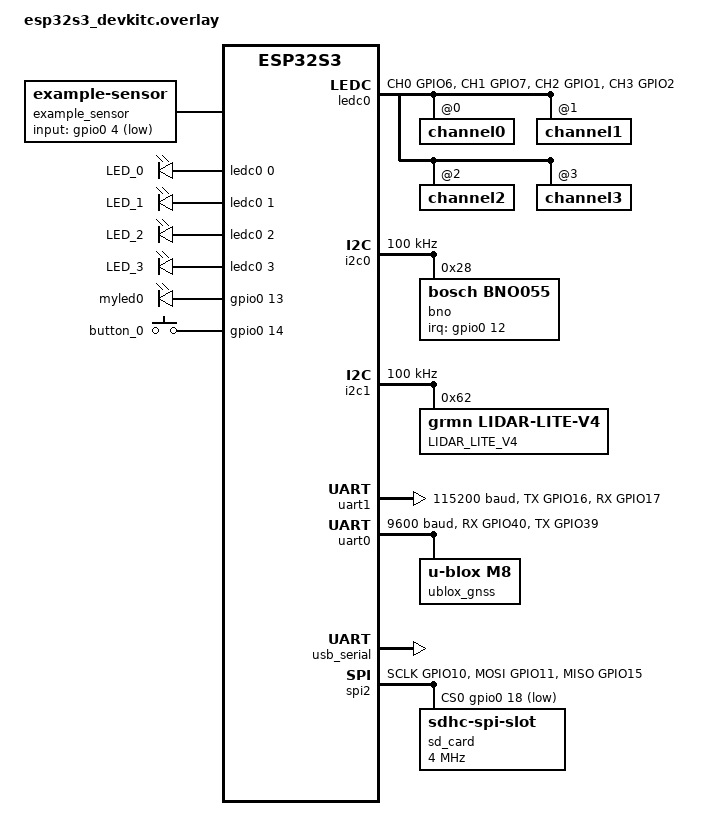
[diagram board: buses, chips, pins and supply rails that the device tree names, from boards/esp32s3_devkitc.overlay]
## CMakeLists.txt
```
#-------------------------------------------------------------------------------
# Zephyr Example Application
#
# Copyright (c) 2021 Nordic Semiconductor ASA
# SPDX-License-Identifier: Apache-2.0

cmake_minimum_required(VERSION 3.20.0)
list(APPEND DTS_ROOT ${CMAKE_CURRENT_SOURCE_DIR}/..)
find_package(Zephyr REQUIRED HINTS $ENV{ZEPHYR_BASE})
project(my_zephyr_app)

project(app LANGUAGES C)
target_include_directories(app  PRIVATE ${CMAKE_CURRENT_SOURCE_DIR}/../include)
target_sources(app PRIVATE src/main.c src/state_machine.c src/lidar.c src/uart.c src/bno.c src/ledCtrl.c src/pid.c src/control.c src/sdcard.c)

add_subdirectory(${CMAKE_CURRENT_SOURCE_DIR}/../drivers drivers)
```

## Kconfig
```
# Copyright (c) 2021 Nordic Semiconductor ASA
# SPDX-License-Identifier: Apache-2.0
#
# This file is the application Kconfig entry point. All application Kconfig
# options can be defined here or included via other application Kconfig files.
# You can browse these options using the west targets menuconfig (terminal) or
# guiconfig (GUI).

menu "Zephyr"
source "Kconfig.zephyr"
endmenu
rsource "../drivers/Kconfig"
module = APP
module-str = APP
```

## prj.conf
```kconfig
# Copyright (c) 2021 Nordic Semiconductor ASA
# SPDX-License-Identifier: Apache-2.0
#
#
# This file contains selected Kconfig options for the application.

CONFIG_I2C=y
CONFIG_SENSOR=y

CONFIG_MAIN_STACK_SIZE=4096
CONFIG_PWM=y
CONFIG_LIDAR_LITE_V4=y
CONFIG_LOG=y
CONFIG_PRINTK=y
# --- Debug / diagnostics (intentional — see TRANSITION.md §9) ---
CONFIG_THREAD_STACK_INFO=y
# Guard word at each stack end, checked on context switch: a stack overflow
# becomes a named fatal message instead of silent corruption + a wild crash.
CONFIG_STACK_SENTINEL=y
# Real thread names in crash dumps and the analyzer (not "(unknown)").
CONFIG_THREAD_NAME=y
# Print every thread's stack high-water mark + CPU% every 20s. Keep it; for a
# quieter console raise the interval rather than removing it.
CONFIG_THREAD_ANALYZER=y
CONFIG_THREAD_ANALYZER_USE_PRINTK=y
CONFIG_THREAD_ANALYZER_AUTO=y
CONFIG_THREAD_ANALYZER_AUTO_INTERVAL=20
# added so no logs are dropped in dump
CONFIG_LOG_BUFFER_SIZE=2048
# --- end diagnostics ---
CONFIG_NEWLIB_LIBC=y
# CONFIG_MPU6050_TRIGGER=y
CONFIG_MPU6050_TRIGGER_GLOBAL_THREAD=y
CONFIG_CBPRINTF_FP_SUPPORT=y
CONFIG_BNO055=y
CONFIG_BNO055_TRIGGER=y
CONFIG_SENSOR_LOG_LEVEL_INF=y
# CONFIG_MPU6050=y
CONFIG_NANOPB=y
CONFIG_GPIO=y
CONFIG_SERIAL=y
CONFIG_UART_INTERRUPT_DRIVEN=y
#GNSS config
CONFIG_GNSS=y
#SD
CONFIG_SPI=y
CONFIG_DISK_ACCESS=y
CONFIG_DISK_DRIVER_SDMMC=y
#File systems
CONFIG_FILE_SYSTEM=y
CONFIG_FAT_FILESYSTEM_ELM=y
```

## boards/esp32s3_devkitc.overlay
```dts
#include <zephyr/dt-bindings/pwm/pwm.h>
/ {
    chosen {
        zephyr,console = &usb_serial;
        zephyr,shell-uart = &usb_serial;
    };

    example_sensor: example_sensor_0 {
        compatible = "zephyr,example-sensor";
        input-gpios = <&gpio0 4 (GPIO_PULL_UP | GPIO_ACTIVE_LOW)>;
        status = "okay";
    };

    aliases {
        led0 = &pwm_led_0;
        led1 = &pwm_led_1;
        led2 = &pwm_led_2;
        led3 = &pwm_led_3;
        led4 = &myled0;
        button0 = &button_0;
    };

    my-pwm-leds {
        compatible = "pwm-leds";
         pwm_led_0: pwm_led_0 {
            pwms = <&ledc0 0 1000000 PWM_POLARITY_NORMAL>; /* channel 0 */
            label = "LED_0";
        };
        pwm_led_1: pwm_led_1 {
            pwms = <&ledc0 1 1000000 PWM_POLARITY_NORMAL>; /* channel 1 */
            label = "LED_1";
        };
        pwm_led_2: pwm_led_2 {
            pwms = <&ledc0 2 1000000 PWM_POLARITY_NORMAL>; /* channel 2 */
            label = "LED_2";
        };
        pwm_led_3: pwm_led_3 {
            pwms = <&ledc0 3 1000000 PWM_POLARITY_NORMAL>; /* channel 3 */
            label = "LED_3";
        };
    };

    leds: leds {
        compatible = "gpio-leds";
        myled0: led_4 {
            gpios = <&gpio0 13 GPIO_ACTIVE_HIGH>;
        };
    };

    buttons: buttons {
        compatible = "gpio-keys";
        button_0: button_0 {
            gpios = <&gpio0 14 (GPIO_ACTIVE_HIGH | GPIO_PULL_DOWN)>;
        };
    };

};


&ledc0 {
    pinctrl-0 = <&ledc0_pins>;
    pinctrl-names = "default";
    status = "okay";
    #address-cells=<1>;
    #size-cells=<0>;
    channel0@0 {
        reg = <0>;
        timer = <0>;
    };

    channel1@1 {
        reg = <1>;
        timer = <0>;
    };

    channel2@2 {
        reg = <2>;
        timer = <0>;
    };

    channel3@3 {
        reg = <3>;
        timer = <0>;
    };
};

&pinctrl {
    ledc0_pins: ledc0_pins {
        group1 {
            pinmux = <LEDC_CH0_GPIO6>;
            output-enable;
        };
        group2 {
            pinmux = <LEDC_CH1_GPIO7>;
            output-enable;
        };
        group3 {
            pinmux = <LEDC_CH2_GPIO1>;
            output-enable;
        };
        group4 {
            pinmux = <LEDC_CH3_GPIO2>;
            output-enable;
        };
    };

    i2c0_default: i2c0_default {
        group1 {
            pinmux=<I2C0_SDA_GPIO8>, <I2C0_SCL_GPIO9>;
            bias-pull-up;
            drive-open-drain;
            output-high;
        };

    };

    i2c1_default: i2c1_default {
        group1 {
            pinmux=<I2C1_SDA_GPIO4>, <I2C1_SCL_GPIO5>;
            bias-pull-up;
            drive-open-drain;
            output-high;
        };
    };
    uart1_pins: uart1_pins {
        group1 {
            pinmux=<UART1_TX_GPIO16>;
            output-high;
        };
        group2 {
            pinmux=<UART1_RX_GPIO17>;
            bias-pull-up;
        };
    };
    uart0_pins: uart0_pins {
        group1 {
            pinmux = <UART0_RX_GPIO40>;
            bias-pull-up;
        };
        group2 {
            pinmux = <UART0_TX_GPIO39>;
            output-high;
        };
    };

    spi2_sd_pins: spi2_sd_pins {
        group1 {
            pinmux = <SPIM2_SCLK_GPIO10>, <SPIM2_MOSI_GPIO11>;
            output-enable;
        };
        group2 {
            pinmux = <SPIM2_MISO_GPIO15>;
            input-enable;
            bias-pull-up;
        };
    };

};


&i2c0 {
	status = "okay";
    bno: bno0550: bno055@28 {
        compatible = "bosch,bno055";
        reg=<0x28>;
        irq-gpios = <&gpio0 12 (GPIO_ACTIVE_HIGH | GPIO_PULL_DOWN)>;
        // use_xtal;
        // zephyr,deferred-init;
    };
    clock-frequency = <I2C_BITRATE_STANDARD>;
    pinctrl-0 = <&i2c0_default>;
    pinctrl-names = "default";
};

&i2c1 {
    status ="okay";
    clock-frequency = <I2C_BITRATE_STANDARD>;
    pinctrl-0 = <&i2c1_default>;
    pinctrl-names = "default";
    lidar: lidar@62 {
        compatible = "grmn,lidar-lite-v4";
        reg = <0x62>;
        label = "LIDAR_LITE_V4";
        status = "okay";
    };
};

&gpio0 {
    status = "okay";
};

&uart1 {
    status = "okay";
    pinctrl-0 = <&uart1_pins>;
    pinctrl-names = "default";
    current-speed = <115200>;
};


&uart0 {
    status = "okay";
    pinctrl-0 = <&uart0_pins>;
    pinctrl-names = "default";
    current-speed = <9600>;
    ublox_gnss: ublox_gnss {
        status = "okay";
        compatible = "u-blox,m8";
        initial-baudrate = <9600>;
        fix-rate = <1000>;
    };
};

&usb_serial {
    status = "okay";
};

&spi2 {
    status = "okay";
    pinctrl-0 = <&spi2_sd_pins>;
    pinctrl-names = "default";
    cs-gpios = <&gpio0 18 (GPIO_ACTIVE_LOW | GPIO_PULL_UP)>;
    sd_card@0 {
        #address-cells = <0x1>;
        #size-cells = <0x0>;
        compatible = "zephyr,sdhc-spi-slot";
        reg = <0>;
        spi-max-frequency = <4000000>;
        power-delay-ms = <200>;
        sdmmc@0 {
            reg = <0>;
            compatible = "zephyr,sdmmc-disk";
            disk-name = "SD";
            status = "okay";
        };
    };
};

&spi3 {
    status = "disabled";
};
```

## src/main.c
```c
#include <zephyr/kernel.h>
#include <zephyr/sys/printk.h> 
#include <zephyr/drivers/sensor.h>
#include <zephyr/drivers/gpio.h>
#include <zephyr/drivers/i2c.h>
#include "state_machine.h"
// #include "imu.h"
#include "lidar.h"
#include "bno.h"
#include "ledCtrl.h"
#include "uart.h"
#include <stdio.h> 
#include "pid.h"
#include "control.h"
#include <stdalign.h>

// static const struct device *bno055_dev = DEVICE_DT_GET(DT_NODELABEL(bno)); 

// define thread
#define STACK_SIZE      2048
#define COMMS_PRIORITY  1
#define BNO_STACK_SIZE 4096
#define BNO_PRIORITY   3
#define LIDAR_STACK_SIZE 2048
#define LIDAR_PRIORITY 4
#define MAX_BNO_MSGQ_LEN 16
#define MAX_LIDAR_MSGQ_LEN 8
#define BNO_SEM_INIT_COUNT 0 
#define BNO_SEM_MAX_COUNT 1
#define BNO_THREAD_PRIORITY 2
#define UART_CONSUMER_STACK_SIZE 2048
#define UART_CONSUMER_PRIORITY 5
#define TOP_LEFT  1
#define TOP_RIGHT  2
#define BOTTOM_LEFT  0
#define BOTTOM_RIGHT  3

#ifndef M_PI
#define M_PI 3.14159265358979323846
#endif

//lidar section
K_SEM_DEFINE(lidar_sem, 0, 1);
K_MSGQ_DEFINE(lidar_msgq, sizeof(struct lidar_data), MAX_LIDAR_MSGQ_LEN, alignof(struct lidar_data));
K_TIMER_DEFINE(lidar_timer, lidar_timer_handler, NULL);
//LiDAR stack definiton 
K_THREAD_STACK_DEFINE(lidar_consumer_stack, LIDAR_STACK_SIZE); 
static struct k_thread lidar_consumer_thread_data;

//state machine thread
K_THREAD_STACK_DEFINE(state_machine_stack, STACK_SIZE);
static struct k_thread state_machine_thread_data;
extern drone_state_t current_state;
extern struct k_msgq event_msgq;

//bno thread
K_THREAD_STACK_DEFINE(bno_consumer_stack, BNO_STACK_SIZE);
static struct k_thread bno_consumer_thread_data;
K_MSGQ_DEFINE(bno_msgq, sizeof(struct bno_data), MAX_BNO_MSGQ_LEN, alignof(int));
K_SEM_DEFINE(bno_sem, BNO_SEM_INIT_COUNT, BNO_SEM_MAX_COUNT);


K_THREAD_DEFINE(bno_thread, BNO_STACK_SIZE, bno_read_thread, NULL, NULL, NULL, BNO_THREAD_PRIORITY, 0, 0);
K_THREAD_DEFINE(lidar_thread, LIDAR_STACK_SIZE, lidar_read_thread, NULL, NULL, NULL, LIDAR_PRIORITY, 0, 0);

//uart section
K_THREAD_STACK_DEFINE(uart_consumer_stack, UART_CONSUMER_STACK_SIZE);
static struct k_thread uart_consumer_thread_data;
K_MSGQ_DEFINE(uart_rx_msgq, sizeof(struct uart_msg), 16, alignof(struct uart_msg));
extern struct ring_buf command_queue;


static const struct gpio_dt_spec led0 = GPIO_DT_SPEC_GET(DT_ALIAS(led4), gpios);
/* Running count of bytes accepted from uart1 — shown in telemetry so you can
 * see at a glance whether commands physically reach the RX pin. */
static volatile uint32_t uart_rx_count = 0;
/* Split a float into sign + integer + hundredths so telemetry prints fixed
 * point with plain %d and skips the stack-heavy floating-point printk path. */
static void fx2(float v, char *sign, int *whole, int *frac)
{
    *sign  = (v < 0.0f) ? '-' : ' ';
    float a = (v < 0.0f) ? -v : v;
    *whole = (int)a;
    *frac  = (int)((a - (float)*whole) * 100.0f + 0.5f);
    if (*frac >= 100) { *frac -= 100; (*whole)++; }
}

static void bno_consumer(void *arg1, void *arg2, void *arg3)
{
    struct bno_data out;
    pid_ctrl_t pitch_pid, roll_pid, alt_pid;

    printk("BNO consumer thread started\n");

    /*
     * Attitude gains — tune Kp first, then Ki to kill steady-state offset,
     * then Kd to reduce overshoot. integral_limit caps the I term to ±20
     * output units. Starting points from prior proportional-only tuning:
     *   pitch ±3.5° observed range, roll ±1.5° observed range.
     */
    pid_init(&pitch_pid, /*kp=*/8.0f,  /*ki=*/0.5f,   /*kd=*/2.0f,  /*lim=*/20.0f);
    pid_init(&roll_pid,  /*kp=*/10.0f, /*ki=*/0.5f,   /*kd=*/2.0f,  /*lim=*/20.0f);
    /*
     * Altitude gains operate on error in millimetres, so they are much
     * smaller. Output is a collective throttle offset added to every motor.
     * integral_limit caps collective authority from the I term to ±30.
     */
    pid_init(&alt_pid,   /*kp=*/0.05f, /*ki=*/0.001f, /*kd=*/0.02f, /*lim=*/30.0f);

    uint32_t last_time = k_uptime_get_32();
    int print_counter = 0;

    while (1) {
        /* Block for one sample, then drain any backlog and keep only the
         * newest: the producer runs faster (25 Hz) than this loop (20 Hz),
         * so this both prevents queue-full drops and guarantees the control
         * loop acts on the freshest attitude, never a stale FIFO entry. */
        int rc = bno_get(&out, K_MSEC(100));
        if (rc == 0) {
            struct bno_data newer;
            while (bno_get(&newer, K_NO_WAIT) == 0) {
                out = newer;
            }
        }
        if (rc != 0) {
            /* Sensor loss — idle motors and reset PID state to prevent
             * stale integral and derivative carry-over on recovery. */
            //need some error recovery -> force FSM to ERROR
            pid_reset(&pitch_pid);
            pid_reset(&roll_pid);
            pid_reset(&alt_pid);
            last_time = k_uptime_get_32();
            // for (int i = 0; i < 4; i++) {
            //     set_led_intensity(i, 10);
            // }
            //immediately go into error and block forever
            
            //UNCOMMENT when bno consumer is ready; else then sends it to error pretty fast
            // static const system_events_t bno_error = ERROR;
            // k_msgq_put_front(&event_msgq, &bno_error);
            
            
            k_msleep(50);
            continue;
        }

        uint32_t now = k_uptime_get_32();
        float dt = (float)(now - last_time) / 1000.0f;  /* ms -> seconds */
        last_time = now;

        /* Guard: skip cycle if dt is zero or suspiciously large (scheduler
         * stall, wrap-around, first tick). */
        if (dt <= 0.0f || dt > 0.5f) {
            k_msleep(50);
            continue;
        }

        /* Snapshot RC-commanded setpoints + latest altitude for this tick. */
        float pitch_sp, roll_sp, altitude_sp;
        uint32_t altitude_mm;
        bool altitude_valid;
        control_get(&pitch_sp, &roll_sp, &altitude_sp,
                    &altitude_mm, &altitude_valid);

        /* Invert signs to match physical frame orientation of the rig. */
        float pitch = -out.eul.pitch;
        float roll  = -out.eul.roll;

        /* Attitude PID tracks RC-commanded angles (0° = level hover). */
        float pitch_out = pid_update(&pitch_pid, pitch_sp, pitch, dt);
        float roll_out  = pid_update(&roll_pid,  roll_sp,  roll,  dt);

        /* Altitude PID adjusts collective throttle to hold commanded height.
         * Only active once LiDAR has produced a valid measurement. */
        int base = 50;
        float collective = (float)base;
        if (altitude_valid) {
            collective += pid_update(&alt_pid, altitude_sp,
                                     (float)altitude_mm, dt);
        } else {
            pid_reset(&alt_pid);
        }

        int front_left  = (int)collective + (int)pitch_out + (int)roll_out;
        int front_right = (int)collective - (int)pitch_out + (int)roll_out;
        int back_left   = (int)collective + (int)pitch_out - (int)roll_out;
        int back_right  = (int)collective - (int)pitch_out - (int)roll_out;

        if (front_left  < 0) front_left  = 0; else if (front_left  > 100) front_left  = 100;
        if (front_right < 0) front_right = 0; else if (front_right > 100) front_right = 100;
        if (back_left   < 0) back_left   = 0; else if (back_left   > 100) back_left   = 100;
        if (back_right  < 0) back_right  = 0; else if (back_right  > 100) back_right  = 100;

        set_led_intensity(TOP_LEFT,     front_left);
        set_led_intensity(TOP_RIGHT,    front_right);
        set_led_intensity(BOTTOM_LEFT,  back_left);
        set_led_intensity(BOTTOM_RIGHT, back_right);

        /* Throttled telemetry (~2 Hz), integer fixed-point so no %f printk. */
        if (++print_counter >= 10) {
            print_counter = 0;
            char ps, rs, ys, spp, spr;
            int pw, pf, rw, rf, yw, yf, ppw, ppf, prw, prf;
            fx2(pitch,       &ps,  &pw,  &pf);
            fx2(roll,        &rs,  &rw,  &rf);
            fx2(out.eul.yaw, &ys,  &yw,  &yf);
            fx2(pitch_sp,    &spp, &ppw, &ppf);
            fx2(roll_sp,     &spr, &prw, &prf);
            printk("[%s] P:%c%d.%02d R:%c%d.%02d Y:%c%d.%02d | sp P:%c%d.%02d R:%c%d.%02d | alt:%umm sp:%d%s | rx:%u | mix FL:%d FR:%d BL:%d BR:%d\n",
                   now_str(),
                   ps, pw, pf,  rs, rw, rf,  ys, yw, yf,
                   spp, ppw, ppf,  spr, prw, prf,
                   altitude_mm, (int)altitude_sp,
                   altitude_valid ? "" : "(off)",
                   uart_rx_count,
                   front_left, front_right, back_left, back_right);
        }

        k_msleep(50);  /* 20 Hz control loop */
    }
}

static void lidar_consumer(void *arg1, void *arg2, void *arg3) {
    struct lidar_data out; 
    printk("LiDAR consumer thread started\n");

    while (1) {
        int rc = k_msgq_get(&lidar_msgq, &out, K_FOREVER);
        if (rc == 0) {
            /* Publish altitude to the control loop (engages altitude hold). */
            control_set_altitude(out.distance_mm);
            /* Proximity warning LED. */
            if(out.distance_mm < 300) {
                gpio_pin_set_dt(&led0, 1);
            } else {
                gpio_pin_set_dt(&led0, 0);
            }
        } else {
            printk("Failed to get LiDAR data: %d\n", rc);
        }
        k_msleep(100);
    }
}

static void uart_consumer(void *arg1,  void *arg2, void *arg3) {
    struct uart_msg out;
    static const system_events_t control_event = CTRL_COMMAND;
    printk("uart consumer thread started\n");
    while(1)
    {
        if(k_msgq_get(&uart_rx_msgq, &out, K_FOREVER) == 0)
        {
            char c = out.data[0];
            uart_rx_count++;
                switch (c) {
                case 'L':
                    // control_adjust_roll(-CONTROL_ATTITUDE_STEP_DEG);
                    printk("UART: LEFT  (roll setpoint down)\n");
                    static const command_t left_cmd = LEFT;
                    ring_buf_put(&command_queue, (uint8_t*)&left_cmd, sizeof(command_t));
                    k_msgq_put(&event_msgq, &control_event, K_NO_WAIT);
                    break;
                case 'R':
                    // control_adjust_roll(+CONTROL_ATTITUDE_STEP_DEG);
                    printk("UART: RIGHT (roll setpoint up)\n");
                    static const command_t right_cmd = RIGHT;
                    ring_buf_put(&command_queue, (uint8_t*)&right_cmd, sizeof(command_t));
                    k_msgq_put(&event_msgq, &control_event, K_NO_WAIT);
                    break;
                case 'U':
                    // control_adjust_pitch(+CONTROL_ATTITUDE_STEP_DEG);
                    printk("UART: UP    (pitch setpoint up)\n");
                    static const command_t back_cmd = BACK;
                    ring_buf_put(&command_queue, (uint8_t*)&back_cmd, sizeof(command_t));
                    k_msgq_put(&event_msgq, &control_event, K_NO_WAIT);
                    break;
                case 'D':
                    // control_adjust_pitch(-CONTROL_ATTITUDE_STEP_DEG);
                    printk("UART: DOWN  (pitch setpoint down)\n");
                    static const command_t forward_cmd = FORWARD;
                    ring_buf_put(&command_queue, (uint8_t*)&forward_cmd, sizeof(command_t));
                    k_msgq_put(&event_msgq, &control_event, K_NO_WAIT);
                    break;
                case 'A':
                    // control_adjust_altitude(+CONTROL_ALTITUDE_STEP_MM);
                    printk("UART: ASCEND  (altitude setpoint +%dmm)\n",
                           (int)CONTROL_ALTITUDE_STEP_MM);
                    static const command_t up_cmd = UP;
                    ring_buf_put(&command_queue, (uint8_t*)&up_cmd, sizeof(command_t));
                    k_msgq_put(&event_msgq, &control_event, K_NO_WAIT);
                    break;
                case 'X':
                    // control_adjust_altitude(-CONTROL_ALTITUDE_STEP_MM);
                    printk("UART: DESCEND (altitude setpoint -%dmm)\n",
                           (int)CONTROL_ALTITUDE_STEP_MM);
                    static const command_t down_cmd = DOWN;
                    ring_buf_put(&command_queue, (uint8_t*)&down_cmd, sizeof(command_t));
                    k_msgq_put(&event_msgq, &control_event, K_NO_WAIT);
                    break;
                case 'B':
                    static const command_t abort_cmd = ABORT;
                    ring_buf_put(&command_queue, (uint8_t*)&abort_cmd, sizeof(command_t));
                    k_msgq_put(&event_msgq, &control_event, K_NO_WAIT);
                    printk("UART: ABORT\n");
                    break;
                default:
                    printk("UART: UNKNOWN '%c'\n", c);
            }
        }
    }
}

/* Probe every 7-bit address on a bus and print which ones ACK. Lets you tell a
 * miswired-but-alive sensor (shows up at its address) from a dead/unwired one
 * (nothing responds). */
static void i2c_scan(const struct device *bus, const char *label)
{
    if (!device_is_ready(bus)) {
        printk("i2c_scan: %s not ready\n", label);
        return;
    }
    printk("Scanning %s...\n", label);
    int found = 0;
    for (uint8_t addr = 0x08; addr <= 0x77; addr++) {
        uint8_t dummy;
        if (i2c_read(bus, &dummy, 1, addr) == 0) {
            printk("  ACK at 0x%02x\n", addr);
            found++;
        }
    }
    printk("  %s: %d device(s) responded\n", label, found);
}

int main(void)
{
    // printk("Checking I2C devices...\n");

    const struct device *i2c0_dev = DEVICE_DT_GET(DT_NODELABEL(i2c0));
    const struct device *i2c1_dev = DEVICE_DT_GET(DT_NODELABEL(i2c1));
    int rc = gpio_pin_configure_dt(&led0, GPIO_OUTPUT_ACTIVE); 
    if(rc != 0) {
        printk("Failed to configure LED GPIO: %d\n", rc);
        return -1;
    }
    // Check if GPIO is ready
    if (!device_is_ready(led0.port)) {
        printk("LED GPIO device is not ready\n");
        return -1;
    }
    printk("setting to 0\n"); 
    gpio_pin_set_dt(&led0, 0); 
    
    printk("I2C0 ready: %s\n", device_is_ready(i2c0_dev) ? "YES" : "NO");
    printk("I2C1 ready: %s\n", device_is_ready(i2c1_dev) ? "YES" : "NO");

    /* Diagnostic: list every device that ACKs on each bus. BNO055 should
     * appear at 0x28 (or 0x29 if ADR is high); LiDAR at 0x62. */
    i2c_scan(i2c0_dev, "i2c0 (BNO055 @0x28)");
    i2c_scan(i2c1_dev, "i2c1 (LiDAR @0x62)");
    
    printk("Starting LiDAR-Lite V4 and BNO test app...\n");

    //Initialize BNO
    const struct device *const bno = DEVICE_DT_GET(DT_NODELABEL(bno));
    rc = bno_init(bno);
    if (rc != 0) {
        /* Non-fatal: keep booting so LiDAR/UART/LEDs still run and print.
         * Attitude control is simply disabled until the IMU comes up. */
        printk("bno_init failed: %d — continuing without IMU\n", rc);
    }

    // // Initialize LiDAR
    const struct device *const lidar_device = DEVICE_DT_GET(DT_NODELABEL(lidar));
    rc = lidar_init(lidar_device); 
    if(rc != 0) { 
        printk("lidar_init failed: %d\n", rc);
        // return rc;
    }

    //Initialize UART
    const struct device *const uart_control = DEVICE_DT_GET(DT_NODELABEL(uart1));
    int uc = uart_init(uart_control);
    if(uc != 0){
        printk("uart_init failed: %d\n",uc);
    }

    // Start state machine thread
    k_thread_create(&state_machine_thread_data, state_machine_stack, STACK_SIZE,
                    state_machine_thread, NULL, NULL, NULL,
                    COMMS_PRIORITY, 0, K_NO_WAIT);
    //initialize LEDs and control
    system_events_t event = INIT_HW;
    k_msgq_put(&event_msgq, &event, K_NO_WAIT);

    // Start BNO consumer thread (the one that prints data)
    k_thread_create(&bno_consumer_thread_data, 
                    bno_consumer_stack, 
                    BNO_STACK_SIZE, 
                    bno_consumer, 
                    NULL, NULL, NULL, 
                    BNO_PRIORITY, 0, K_NO_WAIT);
     // Start LiDAR consumer thread (the one that prints data)
    k_thread_create(&lidar_consumer_thread_data, 
                    lidar_consumer_stack, 
                    LIDAR_STACK_SIZE, 
                    lidar_consumer, 
                    NULL, NULL, NULL, 
                    LIDAR_PRIORITY, 0, K_NO_WAIT);

    // Start UART consumer thread (the one that prints data)
    k_thread_create(&uart_consumer_thread_data, 
                    uart_consumer_stack, 
                    UART_CONSUMER_STACK_SIZE, 
                    uart_consumer, 
                    NULL, NULL, NULL,
                    UART_CONSUMER_PRIORITY, 0, K_NO_WAIT);

    printk("All threads started\n");

    // Start LiDAR timer after everything is initialized
    k_timer_start(&lidar_timer, K_MSEC(30), K_MSEC(30));

    
    printk("LiDAR timer started, monitoring data...\n");
    //     k_usleep(100);
    //     event = ASCEND;
    //     k_msgq_put(&event_msgq, &event, K_NO_WAIT);
    //     k_usleep(100);
    //     event = CTRL_COMMAND;
    //     static const command_t cmd = ABORT;
    //     ring_buf_put(&command_queue, (uint8_t*)&cmd, sizeof(command_t));
    //     k_msgq_put(&event_msgq, &event, K_NO_WAIT);
    //     k_usleep(100);
        // event = LAND;
        // k_msgq_put(&event_msgq, &event, K_NO_WAIT);
        
    while(1) {
        // for(int i = 0; i < 100; i++) { 
        //     set_led_intensity(TOP_LEFT, 0); 
        //     set_led_intensity(TOP_RIGHT, 0); 
        //     set_led_intensity(BOTTOM_LEFT, 0); 
        //     set_led_intensity(BOTTOM_RIGHT, 0); 
        //     k_msleep(10);
        // }
        k_msleep(1000); 
        // for(int i = 100; i>=0; i--) { 
        //     set_led_intensity(TOP_LEFT, i); 
        //     // set_led_intensity(TOP_RIGHT, i); 
        //     set_led_intensity(BOTTOM_LEFT, i); 
        //     // set_led_intensity(BOTTOM_RIGHT, i); 
        //     k_msleep(10);
        // }
    }
    return 0;
}
```

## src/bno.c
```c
#include "bno.h"
#include <zephyr/kernel.h>
#include <zephyr/device.h>
#include <zephyr/drivers/sensor.h>
#include <stdio.h>
#include <../../drivers/sensor/bno055/bno055.h>

#ifndef M_PI
#define M_PI 3.14159265358979323846
#endif

static const struct device *bno_dev = NULL;
static volatile bool bno_ready = false;  /* set true once bno_init() completes */
static struct sensor_trigger trig_acc_drdy; 
static struct sensor_trigger trig_acc_motion;
static struct sensor_trigger trig_acc_high_g;
static struct sensor_trigger trig_gyr_any_motion;
static struct sensor_trigger trig_gyr_high_rate;

static void acc_drdy(const struct device *dev, const struct sensor_trigger *trigger) { ARG_UNUSED(dev); ARG_UNUSED(trigger); }
static void acc_motion(const struct device *dev, const struct sensor_trigger *trigger) { ARG_UNUSED(dev); ARG_UNUSED(trigger); }
static void acc_high_g(const struct device *dev, const struct sensor_trigger *trigger) { ARG_UNUSED(dev); ARG_UNUSED(trigger); }
static void gyr_any_motion(const struct device *dev, const struct sensor_trigger *trigger) { ARG_UNUSED(dev); ARG_UNUSED(trigger); }
static void gyr_high_rate(const struct device *dev, const struct sensor_trigger *trigger) { ARG_UNUSED(dev); ARG_UNUSED(trigger); }

const char *now_str(void) { 
    static char buf[16];
    uint32_t now = k_uptime_get_32();
    unsigned int ms = now % MSEC_PER_SEC;
    unsigned int s;
    unsigned int min;
    unsigned int h;

    now /= MSEC_PER_SEC;
    s = now % 60U;
    now /= 60U;
    min = now % 60U;
    now /= 60U;
    h = now;

    snprintf(buf, sizeof(buf), "%u:%02u:%02u.%03u", h, min, s, ms);
    return buf;
}

static int process_bno055(const struct device *dev, struct bno_data *out) { 
    struct sensor_value eul[3]; 
    int rc; 
    
    rc = sensor_sample_fetch(dev); 
    if (rc) { 
        return rc; 
    }

    rc = sensor_channel_get(dev, BNO055_SENSOR_CHAN_EULER_YRP, eul);
    if (rc) { 
        return rc; 
    }

    out->time = k_uptime_get_32();
    // DO thsi when need precision just working on simple values rn 
    out->eul.yaw = (float)eul[0].val1 + (float)eul[0].val2 / 1000000.0f;
    out->eul.roll  = (float)eul[1].val1 + (float)eul[1].val2 / 1000000.0f;
    out->eul.pitch = (float)eul[2].val1 + (float)eul[2].val2 / 1000000.0f;
    // out->eul.yaw = (float)eul[1].val1;
    // out->eul.roll  = (float)eul[0].val1;
    // out->eul.pitch = (float)eul[2].val1;
    

    
    return 0; 
}

void bno_read_thread(void *arg1, void *arg2, void *arg3) { 
    ARG_UNUSED(arg2);
    ARG_UNUSED(arg3);

    while (1) { 
        const struct device *dev = bno_dev ? bno_dev : (const struct device *)arg1;
        
        /* Don't poll until init has fully configured the chip and left CONFIG
         * mode — otherwise the driver floods "CONFIG Mode no sample". */
        if (dev == NULL || !bno_ready) {
            k_msleep(50);
            continue;
        }

        struct bno_data data; 
        int rc = process_bno055(dev, &data); 
        
        if (rc == 0) { 
            int put_rc = k_msgq_put(&bno_msgq, &data, K_NO_WAIT); 
            if (put_rc != 0) { 
                printk("BNO msgq full, dropping data\n"); 
            }
        } else { 
            printk("Failed to read BNO055 data: %d\n", rc); 
        }
        
        k_msleep(40); // Poll at 50 Hz; adjust as needed
    }
}

int bno_init(const struct device *dev)
{
    struct sensor_value config;
    int rc;

    if (dev == NULL || !device_is_ready(dev)) {
        printk("BNO055 device not ready\n");
        return -ENODEV;
    }

    bno_dev = dev;

    /* Mode + power */
    config.val1 = BNO055_MODE_NDOF;
    config.val2 = 0;
    rc = sensor_attr_set(bno_dev, SENSOR_CHAN_ALL, SENSOR_ATTR_CONFIGURATION, &config);
    if (rc < 0) return rc;

    config.val1 = BNO055_POWER_NORMAL;
    config.val2 = 0;
    rc = sensor_attr_set(bno_dev, SENSOR_CHAN_ALL, BNO055_SENSOR_ATTR_POWER_MODE, &config);
    if (rc < 0) return rc;

    /* DRDY */
    trig_acc_drdy.type = SENSOR_TRIG_DATA_READY;
    trig_acc_drdy.chan = SENSOR_CHAN_ACCEL_XYZ;
    rc = sensor_trigger_set(bno_dev, &trig_acc_drdy, acc_drdy);
    if (rc < 0) return rc;

    /* ACC any-motion */
    config.val1 = BNO055_ACC_DURATION_MOTION_ANY;
    config.val2 = 0x02;
    rc = sensor_attr_set(bno_dev, SENSOR_CHAN_ACCEL_XYZ, SENSOR_ATTR_SLOPE_DUR, &config);
    if (rc < 0) return rc;

    config.val1 = BNO055_ACC_THRESHOLD_MOTION_ANY;
    config.val2 = 0x04;
    rc = sensor_attr_set(bno_dev, SENSOR_CHAN_ACCEL_XYZ, SENSOR_ATTR_SLOPE_TH, &config);
    if (rc < 0) return rc;

    trig_acc_motion.type = SENSOR_TRIG_DELTA;
    trig_acc_motion.chan = SENSOR_CHAN_ACCEL_XYZ;
    rc = sensor_trigger_set(bno_dev, &trig_acc_motion, acc_motion);
    if (rc < 0) return rc;

    /* ACC high-G */
    config.val1 = BNO055_ACC_DURATION_HIGH_G;
    config.val2 = 0x7F;
    rc = sensor_attr_set(bno_dev, SENSOR_CHAN_ACCEL_XYZ, SENSOR_ATTR_SLOPE_DUR, &config);
    if (rc < 0) return rc;

    config.val1 = BNO055_ACC_THRESHOLD_HIGH_G;
    config.val2 = 0x48;
    rc = sensor_attr_set(bno_dev, SENSOR_CHAN_ACCEL_XYZ, SENSOR_ATTR_SLOPE_TH, &config);
    if (rc < 0) return rc;

    trig_acc_high_g.type = BNO055_SENSOR_TRIG_HIGH_G;
    trig_acc_high_g.chan = SENSOR_CHAN_ACCEL_XYZ;
    rc = sensor_trigger_set(bno_dev, &trig_acc_high_g, acc_high_g);
    if (rc < 0) return rc;

    /* GYR any-motion */
    config.val1 = 0x02;
    config.val2 = BNO055_GYR_AWAKE_DURATION_MOTION_ANY_8_SAMPLES;
    rc = sensor_attr_set(bno_dev, SENSOR_CHAN_GYRO_XYZ, SENSOR_ATTR_SLOPE_DUR, &config);
    if (rc < 0) return rc;

    config.val1 = 0x08;
    config.val2 = 0;
    rc = sensor_attr_set(bno_dev, SENSOR_CHAN_GYRO_XYZ, SENSOR_ATTR_SLOPE_TH, &config);
    if (rc < 0) return rc;

    trig_gyr_any_motion.type = SENSOR_TRIG_DELTA;
    trig_gyr_any_motion.chan = SENSOR_CHAN_GYRO_XYZ;
    rc = sensor_trigger_set(bno_dev, &trig_gyr_any_motion, gyr_any_motion);
    if (rc < 0) return rc;

    /* GYR high-rate + filter */
    trig_gyr_high_rate.type = BNO055_SENSOR_TRIG_HIGH_RATE;
    trig_gyr_high_rate.chan = SENSOR_CHAN_GYRO_XYZ;
    rc = sensor_trigger_set(bno_dev, &trig_gyr_high_rate, gyr_high_rate);
    if (rc < 0) return rc;

    config.val1 = BNO055_GYR_FILTER_OFF;
    config.val2 = BNO055_GYR_FILTER_OFF;
    rc = sensor_attr_set(bno_dev, SENSOR_CHAN_GYRO_XYZ, SENSOR_ATTR_FEATURE_MASK, &config);
    if (rc < 0) return rc;

    bno_ready = true;
    printk("BNO055 initialized\n");
    return 0;
}

int bno_get(struct bno_data *out, k_timeout_t timeout) { 
    if (out == NULL) { 
        printk("bno_get: output pointer is NULL\n"); 
        return -1; 
    }
    return k_msgq_get(&bno_msgq, out, timeout);
}
```

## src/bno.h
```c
#ifndef BNO_H
#define BNO_H

#include <zephyr/kernel.h>
#include <zephyr/device.h>
#include <zephyr/drivers/sensor.h>
#include <stdio.h>
#include <../../drivers/sensor/bno055/bno055.h>

typedef struct { 
    float roll; 
    float pitch; 
    float yaw;  
} euler_angles;


typedef struct bno_data { 
    uint32_t time;  
    euler_angles eul;
} bno_data;

const char *now_str(void);
int bno_init(const struct device *dev);

int bno_get(struct bno_data *out, k_timeout_t timeout);
void bno_read_thread(void *arg1, void *arg2, void *arg3);

extern struct k_msgq bno_msgq;
extern struct k_sem bno_sem; 

#endif /* BNO_H */
```

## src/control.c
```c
#include "control.h"
#include <zephyr/kernel.h>

static K_MUTEX_DEFINE(control_mutex);

static float    s_pitch_sp;
static float    s_roll_sp;
static float    s_altitude_sp;
static uint32_t s_altitude_mm;
static bool     s_altitude_valid;

static float clampf(float v, float lo, float hi)
{
    if (v < lo) return lo;
    if (v > hi) return hi;
    return v;
}

void control_init(void)
{
    k_mutex_lock(&control_mutex, K_FOREVER);
    s_pitch_sp       = 0.0f;
    s_roll_sp        = 0.0f;
    s_altitude_sp    = 0.0f;
    s_altitude_mm    = 0;
    s_altitude_valid = false;
    k_mutex_unlock(&control_mutex);
}

void control_adjust_pitch(float delta_deg)
{
    k_mutex_lock(&control_mutex, K_FOREVER);
    s_pitch_sp = clampf(s_pitch_sp + delta_deg,
                        -CONTROL_ATTITUDE_LIMIT_DEG, CONTROL_ATTITUDE_LIMIT_DEG);
    k_mutex_unlock(&control_mutex);
}

void control_adjust_roll(float delta_deg)
{
    k_mutex_lock(&control_mutex, K_FOREVER);
    s_roll_sp = clampf(s_roll_sp + delta_deg,
                       -CONTROL_ATTITUDE_LIMIT_DEG, CONTROL_ATTITUDE_LIMIT_DEG);
    k_mutex_unlock(&control_mutex);
}

void control_adjust_altitude(float delta_mm)
{
    k_mutex_lock(&control_mutex, K_FOREVER);
    s_altitude_sp = clampf(s_altitude_sp + delta_mm,
                           CONTROL_ALTITUDE_MIN_MM, CONTROL_ALTITUDE_MAX_MM);
    k_mutex_unlock(&control_mutex);
}

void control_set_altitude(uint32_t distance_mm)
{
    k_mutex_lock(&control_mutex, K_FOREVER);
    s_altitude_mm = distance_mm;
    if (!s_altitude_valid) {
        /* Engage altitude hold at the current height on the first reading. */
        s_altitude_sp = clampf((float)distance_mm,
                               CONTROL_ALTITUDE_MIN_MM, CONTROL_ALTITUDE_MAX_MM);
        s_altitude_valid = true;
    }
    k_mutex_unlock(&control_mutex);
}

void control_get(float *pitch_sp, float *roll_sp, float *altitude_sp,
                 uint32_t *altitude_mm, bool *altitude_valid)
{
    k_mutex_lock(&control_mutex, K_FOREVER);
    if (pitch_sp)       *pitch_sp       = s_pitch_sp;
    if (roll_sp)        *roll_sp        = s_roll_sp;
    if (altitude_sp)    *altitude_sp    = s_altitude_sp;
    if (altitude_mm)    *altitude_mm    = s_altitude_mm;
    if (altitude_valid) *altitude_valid = s_altitude_valid;
    k_mutex_unlock(&control_mutex);
}

void control_zero_attitude(void){
    k_mutex_lock(&control_mutex, K_FOREVER);
    s_pitch_sp = 0.0f;
    s_roll_sp = 0.0f;
    k_mutex_unlock(&control_mutex);
}
```

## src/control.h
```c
#ifndef CONTROL_H
#define CONTROL_H

#include <stdbool.h>
#include <stdint.h>

/*
 * Shared control setpoints. RC/UART commands adjust the setpoints; the LiDAR
 * thread publishes the latest altitude measurement; the attitude control loop
 * snapshots all of it each tick. All access is mutex-protected because these
 * fields are written and read from three different threads.
 */

/* RC command step sizes and limits */
#define CONTROL_ATTITUDE_STEP_DEG   2.0f    /* per L/R/U/D command   */
#define CONTROL_ATTITUDE_LIMIT_DEG  15.0f   /* max commanded tilt    */
#define CONTROL_ALTITUDE_STEP_MM    100.0f  /* per A/X command       */
#define CONTROL_ALTITUDE_MIN_MM     200.0f  /* floor of altitude hold */
#define CONTROL_ALTITUDE_MAX_MM     3000.0f /* ceiling of altitude hold */
#define CONTROL_FIRST_ASCENSION_MM  1500 /* first ascent height (max / 2)*/

void control_init(void);

/* RC setpoint adjustments (thread-safe, clamped) */
void control_adjust_pitch(float delta_deg);
void control_adjust_roll(float delta_deg);
void control_adjust_altitude(float delta_mm);

/*Zero out pitch and roll while maintaining altitude in HOVER state*/
void control_zero_attitude(void);

/* Publish latest measured altitude. On the first sample, engages altitude
 * hold by seeding the setpoint to the current height. */
void control_set_altitude(uint32_t distance_mm);

/* Snapshot the current setpoints + latest altitude for one control tick.
 * Any pointer may be NULL. */
void control_get(float *pitch_sp, float *roll_sp, float *altitude_sp,
                 uint32_t *altitude_mm, bool *altitude_valid);

#endif /* CONTROL_H */
```

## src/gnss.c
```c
#include "gnss.h"
#include <zephyr/kernel.h>
#include <zephyr/device.h>
#include <zephyr/drivers/uart.h>
#include <string.h>

static const struct device *gnss_dev = NULL;

static char line[GNSS_NMEA_MAX_LEN];
static size_t line_len = 0;

void gnss_timer_handler(struct k_timer *timer_id) {
    k_sem_give(&gnss_sem);
}

static int process_sam_m8q(const struct device *dev, struct gnss_sentence *out) {
    unsigned char c;

    while (uart_poll_in(dev, &c) == 0) {
        if (c == '$') {
            line_len = 0;
        } else if (line_len == 0 || c == '\r') {
            continue;
        }

        if (c == '\n') {
            line[line_len] = '\0';
            memcpy(out->text, line, line_len + 1);
            out->time = k_uptime_get_32();
            line_len = 0;
            return 0;
        }
        if (line_len < GNSS_NMEA_MAX_LEN - 1) {
            line[line_len++] = c;
        }
    }
    return -EAGAIN;
}

void gnss_read_thread(void *arg1, void *arg2, void *arg3) {
    while(1) {
        k_sem_take(&gnss_sem, K_FOREVER);
        if (gnss_dev == NULL) {
            continue;
        }

        struct gnss_sentence data;
        while (process_sam_m8q(gnss_dev, &data) == 0) {
            int put_rc = k_msgq_put(&gnss_msgq, &data, K_NO_WAIT);
            if (put_rc != 0) {
                printk("GNSS msgq full, dropping data\n");
            }
        }
    }
}

int gnss_init(const struct device *dev) {
    if(dev == NULL) {
        printk("GNSS device not found\n");
        return -1;
    }
    if(!device_is_ready(dev)) {
        printk("GNSS device not ready\n");
        return -1;
    }
    gnss_dev = dev;
    printk("GNSS initialized successfully\n");
    return 0;
}

int gnss_get(struct gnss_sentence *out, k_timeout_t timeout) {
    if(out == NULL) {
        printk("gnss_get: output pointer is NULL\n");
        return -1;
    }
    return k_msgq_get(&gnss_msgq, out, timeout);
}
```

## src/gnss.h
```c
#ifndef GNSS_H
#define GNSS_H

#include <zephyr/kernel.h>
#include <zephyr/device.h>
#include <stdint.h>

#define GNSS_NMEA_MAX_LEN 96
struct gnss_sentence {
    uint32_t time;
    char text[GNSS_NMEA_MAX_LEN];
};

extern struct k_sem gnss_sem;
extern struct k_msgq gnss_msgq;

int gnss_init(const struct device *dev);
int gnss_get(struct gnss_sentence *out, k_timeout_t timeout);
void gnss_read_thread(void *arg1, void *arg2, void *arg3);
void gnss_timer_handler(struct k_timer *timer_id);

#endif /* GNSS_H */
```

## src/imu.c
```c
#include "imu.h"
#include <zephyr/kernel.h>
#include <zephyr/device.h>
#include <zephyr/drivers/sensor.h>
#include <stdio.h>


static const struct device *imu_dev = NULL; 
const char *now_str(void)
{
	static char buf[16]; /* ...HH:MM:SS.MMM */
	uint32_t now = k_uptime_get_32();
	unsigned int ms = now % MSEC_PER_SEC;
	unsigned int s;
	unsigned int min;
	unsigned int h;

	now /= MSEC_PER_SEC;
	s = now % 60U;
	now /= 60U;
	min = now % 60U;
	now /= 60U;
	h = now;

	snprintf(buf, sizeof(buf), "%u:%02u:%02u.%03u",
		 h, min, s, ms);
	return buf;
}



static int process_mpu6050(const struct device *dev, struct imu_data *out) { 
	struct sensor_value temp;
    struct sensor_value accel[3];
    struct sensor_value gyro[3];
    int rc;

    rc = sensor_sample_fetch(dev);
    if (rc) {
        return rc;
    }

    rc = sensor_channel_get(dev, SENSOR_CHAN_ACCEL_XYZ, accel);
    if (rc) {
        return rc;
    }

    rc = sensor_channel_get(dev, SENSOR_CHAN_GYRO_XYZ, gyro);
    if (rc) {
        return rc;
    }

    rc = sensor_channel_get(dev, SENSOR_CHAN_DIE_TEMP, &temp);
    if (rc) {
        return rc;
    }

    out->time = k_uptime_get_32();
    out->temp = sensor_value_to_double(&temp);
    out->accel[0] = sensor_value_to_double(&accel[0]);
    out->accel[1] = sensor_value_to_double(&accel[1]);
    out->accel[2] = sensor_value_to_double(&accel[2]);
    out->gyro[0] = sensor_value_to_double(&gyro[0]);
    out->gyro[1] = sensor_value_to_double(&gyro[1]);
    out->gyro[2] = sensor_value_to_double(&gyro[2]);

    return 0;
}

static struct sensor_trigger trigger;

static void handle_mpu6050_drdy(const struct device *dev,
				const struct sensor_trigger *trig)
{
	k_sem_give(&imu_sem);
}

void imu_read_thread(void *arg1, void *arg2, void *args3) { 
	// const struct device *mpu6050 = (const struct device *)arg1; 
	while(1) { 
		k_sem_take(&imu_sem, K_FOREVER); 
		struct imu_data data; 
		const struct device *dev = imu_dev ? imu_dev : (const struct device *)arg1;
		int rc = process_mpu6050(dev, &data); 
		if(rc == 0) { 
			int put_rc = k_msgq_put(&imu_msgq, &data, K_NO_WAIT); 
			if(put_rc != 0) { 
				// printk("IMU msgq full, dropping data\n"); 
			}
		} else { 
			printk("Failed to read IMU data: %d\n", rc); 
		}
	}
	
}


int imu_init(const struct device *dev) { 
	int rc;
	if(dev == NULL) {
		printk("IMU device not found\n"); 
		return -1; 
	}
	if(!device_is_ready(dev)) { 
		printk("IMU device not ready\n"); 
		return -1; 
	}
	imu_dev = dev; 
	trigger = (struct sensor_trigger) {
		.type = SENSOR_TRIG_DATA_READY,
		.chan = SENSOR_CHAN_ALL,
	};
	rc = sensor_trigger_set(dev, &trigger, handle_mpu6050_drdy);
	if(rc < 0) { 
		printk("Failed to set IMU trigger: %d\n", rc); 
		return rc; 
	}
	printk("IMU initialized successfully\n");
	return 0; 
}

int imu_get(struct imu_data *out, k_timeout_t timeout) { 
	if (out == NULL) { 
		printk("imu_get: output pointer is NULL\n");
		return -1; 
	}
	return k_msgq_get(&imu_msgq, out, timeout); 
}
```

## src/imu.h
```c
#ifndef IMU_H
#define IMU_H

#include <zephyr/kernel.h>
#include <zephyr/device.h>
#include <zephyr/drivers/sensor.h>
#include <stdio.h>
struct imu_data { 
    uint32_t time; 
    double temp; 
    double accel[3]; 
    double gyro[3];
};

const char *now_str(void);
int imu_init(const struct device *dev); 
int imu_get(struct imu_data *out, k_timeout_t timeout);

#endif
```

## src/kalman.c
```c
#define G 9.81f
#define DT 0.01f
#include <string.h>
#include <math.h>
#include "matrix.h"

typedef struct {
  float x[4];
  
  float P[4][4];
  
  float Q[4][4];
  
  float R[2][2];
} EKF_State;

void ekf_init(EKF_State *ekf) {
    ekf->x[0] = 0.0f; 
    ekf->x[1] = 0.0f; 
    ekf->x[2] = 0.0f; 
    ekf->x[3] = 0.0f; 

    float P_init[4][4] = { 
        {1.0f, 0.0f, 0.0f, 0.0f},
        {0.0f, 1.0f, 0.0f, 0.0f},
        {0.0f, 0.0f, 0.1f, 0.0f},
        {0.0f, 0.0f, 0.0f, 0.1f},
    };
    memcpy(ekf->P, P_init, sizeof(P_init)); 
    
    float Q_init[4][4] = { 
        {0.001f, 0.0f, 0.0f, 0.0f},
        {0.000f, 0.001f, 0.0f, 0.0f},
        {0.00f, 0.0f, 0.0001f, 0.0f},
        {0.00f, 0.0f, 0.0f, 0.0001f},
    }; 
    memcpy(ekf->Q, Q_init, sizeof(Q_init));

    float R_init[2][2] = { 
        {0.5f, 0.0f}, 
        {0.0f, 0.5f}
    };
    memcpy(ekf->R, R_init, sizeof(R_init)); 
}

void ekf_predict(EKF_State *ekf, float gx, float gy){ 
    float gx_corrected = gx-ekf->x[2];
    float gy_corrected = gy-ekf->x[3]; 

    ekf->x[0] += gx_corrected * DT; 
    ekf->x[1] += gy_corrected * DT; 

    float F[4][4] = { 
        {1.0f, 0.0f, -DT, 0.0f}, 
        {0.0f, 1.0f, 0.0f, -DT}, 
        {0.0f, 0.0f, 1.0f, 0.0f}, 
        {0.0f, 0.0f, 0.0f, 1.0f}

    }; 

    float P_temp[4][4];
    mat_mult((float*)F, 4, 4, (float*)ekf->P, 4, (float*)P_temp); 

    float FT[4][4] = { 
        {1.0f, 0.0f, 0.0f, 0.0f},
        {0.0f, 1.0f, 0.0f, 0.0f},
        {-DT, 0.0f, 1.0f, 0.0f},
        {0.0f, -DT, 0.0f, 1.0f}
    }; 
    mat_mult((float*)P_temp, 4, 4, (float*)FT, 4, (float*)ekf->P);
    float P_with_Q[4][4]; 
    mat_add((float*)ekf->P, (float*)ekf->Q, 4, 4, (float*)P_with_Q); 
    memcpy(ekf->P, P_with_Q, sizeof(P_with_Q)); 
}

void ekf_update(EKF_State *ekf, float ax, float ay, float az) {
  // Calculate measured angles from accelerometer
  float roll_measured = atan2f(-ay, az);
  float pitch_measured = atan2f(ax, sqrtf(ay * ay + az * az));

  // Measurement vector z
  float z[2] = {roll_measured, pitch_measured};

  // Measurement function h(x): we only measure angles
  float h[2] = {ekf->x[0], ekf->x[1]};

  // Innovation y = z - h(x)
  float y[2];
  y[0] = z[0] - h[0];
  y[1] = z[1] - h[1];

  // Measurement Jacobian H (2x4 matrix)
  float H[2][4] = {
    {1.0f, 0.0f, 0.0f, 0.0f},
    {0.0f, 1.0f, 0.0f, 0.0f}
  };

  // P_HT = P @ H^T (4x4 @ 4x2 = 4x2)
  float HT[4][2];
  mat_transpose((float*)H, 2, 4, (float*)HT);

  float P_HT[4][2];
  mat_mult((float*)ekf->P, 4, 4, (float*)HT, 2, (float*)P_HT);

  // S = H @ P @ H^T + R (2x2)
  float H_P_HT[2][2];
  mat_mult((float*)H, 2, 4, (float*)P_HT, 2, (float*)H_P_HT);

  float S[2][2];
  mat_add((float*)H_P_HT, (float*)ekf->R, 2, 2, (float*)S);

  // S_inv = S^-1
  float S_inv[2][2];
  mat_inv_2x2(S, S_inv);

  // K = P_HT @ S_inv (4x2 @ 2x2 = 4x2)
  float K[4][2];
  mat_mult((float*)P_HT, 4, 2, (float*)S_inv, 2, (float*)K);

  // Update state: x = x + K @ y (4x2 @ 2x1 = 4x1)
  float K_y[4];
  memset(K_y, 0, sizeof(K_y));
  for (int i = 0; i < 4; i++) {
    for (int j = 0; j < 2; j++) {
      K_y[i] += K[i][j] * y[j];
    }
  }

  for (int i = 0; i < 4; i++) {
    ekf->x[i] += K_y[i];
  }

  // Update covariance: P = (I - K @ H) @ P
  // KH = K @ H (4x2 @ 2x4 = 4x4)
  float KH[4][4];
  mat_mult((float*)K, 4, 2, (float*)H, 4, (float*)KH);

  // I - KH
  float I_KH[4][4];
  for (int i = 0; i < 4; i++) {
    for (int j = 0; j < 4; j++) {
      I_KH[i][j] = (i == j ? 1.0f : 0.0f) - KH[i][j];
    }
  }

  // P_new = (I - KH) @ P
  float P_new[4][4];
  mat_mult((float*)I_KH, 4, 4, (float*)ekf->P, 4, (float*)P_new);
  memcpy(ekf->P, P_new, sizeof(ekf->P));
}
```

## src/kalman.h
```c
#ifndef KALMAN_H
#define KALMAN_H

typedef struct { 
    float x[4];  
    float P[4][4]; 
    float Q[4][4]; 
    float R[2][2]; 
} EKF_State; 

void ekf_init(EKF_State *ekf); 
void ekf_predict(EKF_State *ekf, float gx, float gy); 
void ekf_update(EKF_State *ekf, float ax, float ay, float az); 

#endif
```

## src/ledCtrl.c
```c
#include <zephyr/kernel.h>
#include <zephyr/sys/printk.h>
#include <zephyr/device.h>
#include <zephyr/drivers/pwm.h>
#include <zephyr/devicetree.h>
#include "ledCtrl.h"

#define LED_COUNT 4



// static const struct pwm_dt_spec pwm_led0 = PWM_DT_SPEC_GET(DT_ALIAS(led0));
static const struct pwm_dt_spec leds[LED_COUNT] = {
    PWM_DT_SPEC_GET(DT_ALIAS(led0)),
    PWM_DT_SPEC_GET(DT_ALIAS(led1)),
    PWM_DT_SPEC_GET(DT_ALIAS(led2)),
    PWM_DT_SPEC_GET(DT_ALIAS(led3)),
};


static const uint32_t fallback_period_ns = 20U * 1000U * 1000U;

void initialize_leds(void)
{
    for (int i = 0; i < LED_COUNT; ++i) {
        const struct pwm_dt_spec *spec = &leds[i];

        if (!pwm_is_ready_dt(spec)) {
            printk("ledCtrl: PWM %d not ready (dev/ph=%p, channel=%u)\n",
                   i, spec->dev, spec->channel);
            continue;
        }

        uint32_t period = spec->period ? spec->period : fallback_period_ns;

        int rc = pwm_set_dt(spec, period, 0);
        if (rc) {
            printk("ledCtrl: pwm_set_dt init fail led=%d rc=%d\n", i, rc);
        } else {
            printk("ledCtrl: led %d initialized (period=%u)\n", i, (unsigned)period);
        }
    }
}


void set_led_intensity(int led_id, int intensity)
{
    if (led_id < 0 || led_id >= LED_COUNT) {
        printk("ledCtrl: invalid led id %d\n", led_id);
        return;
    }

    if (intensity < 0) {
        intensity = 0;
    } else if (intensity > 100) {
        intensity = 100;
    }

    const struct pwm_dt_spec *spec = &leds[led_id];
    if (!pwm_is_ready_dt(spec)) {
        printk("ledCtrl: pwm not ready for led %d\n", led_id);
        return;
    }

    uint32_t period = spec->period ? spec->period : fallback_period_ns;
    uint64_t pulse = (uint64_t)period * (uint64_t)intensity / 100ULL;

    int rc = pwm_set_dt(spec, period, (uint32_t)pulse);
    if (rc) {
        printk("ledCtrl: pwm_set_dt failed led=%d intensity=%d rc=%d\n",
               led_id, intensity, rc);
    }
}
```

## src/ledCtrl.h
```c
#ifndef LED_CTRL_H
#define LED_CTRL_H

void initialize_leds(void);
void set_led_intensity(int led_id, int intensity);

#endif
```
